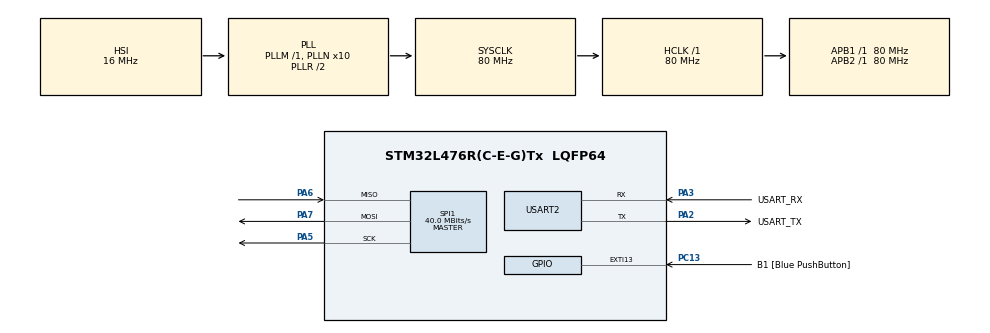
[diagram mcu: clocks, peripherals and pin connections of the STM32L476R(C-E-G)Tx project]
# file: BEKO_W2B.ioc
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Mcu.Family=STM32L4
Mcu.Name=STM32L476R(C-E-G)Tx
Mcu.Package=LQFP64
NVIC.PriorityGroup=NVIC_PRIORITYGROUP_4
PA13\ (JTMS-SWDIO).GPIO_Label=TMS
PA13\ (JTMS-SWDIO).Mode=Serial_Wire
PA13\ (JTMS-SWDIO).Signal=SYS_JTMS-SWDIO
PA14\ (JTCK-SWCLK).GPIO_Label=TCK
PA14\ (JTCK-SWCLK).Mode=Serial_Wire
PA14\ (JTCK-SWCLK).Signal=SYS_JTCK-SWCLK
PA2.GPIO_Label=USART_TX
PA2.GPIO_Mode=GPIO_MODE_AF_PP
PA2.GPIO_PuPd=GPIO_NOPULL
PA2.GPIO_Speed=GPIO_SPEED_FREQ_VERY_HIGH
PA2.Mode=Asynchronous
PA2.Signal=USART2_TX
PA3.GPIO_Label=USART_RX
PA3.GPIO_Mode=GPIO_MODE_AF_PP
PA3.GPIO_PuPd=GPIO_NOPULL
PA3.GPIO_Speed=GPIO_SPEED_FREQ_VERY_HIGH
PA3.Mode=Asynchronous
PA3.Signal=USART2_RX
PA5.Mode=Full_Duplex_Master
PA5.Signal=SPI1_SCK
PA6.Mode=Full_Duplex_Master
PA6.Signal=SPI1_MISO
PA7.Mode=Full_Duplex_Master
PA7.Signal=SPI1_MOSI
PB3\ (JTDO-TRACESWO).GPIO_Label=SWO
PB3\ (JTDO-TRACESWO).Signal=SYS_JTDO-SWO
PC13.GPIO_Label=B1 [Blue PushButton]
PC13.GPIO_ModeDefaultEXTI=GPIO_MODE_IT_FALLING
PC13.GPIO_PuPd=GPIO_NOPULL
PC13.Signal=GPXTI13
PC14-OSC32_IN\ (PC14).Mode=LSE-External-Oscillator
PC14-OSC32_IN\ (PC14).Signal=RCC_OSC32_IN
PC15-OSC32_OUT\ (PC15).Mode=LSE-External-Oscillator
PC15-OSC32_OUT\ (PC15).Signal=RCC_OSC32_OUT
PH0-OSC_IN\ (PH0).Signal=RCC_OSC_IN
PH1-OSC_OUT\ (PH1).Signal=RCC_OSC_OUT
ProjectManager.HeapSize=0x200
ProjectManager.StackSize=0x400
ProjectManager.TargetToolchain=STM32CubeIDE
RCC.ADCFreq_Value=64000000
RCC.AHBFreq_Value=80000000
RCC.APB1Freq_Value=80000000
RCC.APB1TimFreq_Value=80000000
RCC.APB2Freq_Value=80000000
RCC.APB2TimFreq_Value=80000000
RCC.CortexFreq_Value=80000000
RCC.HCLKFreq_Value=80000000
RCC.HSE_VALUE=8000000
RCC.HSI_VALUE=16000000
RCC.MSI_VALUE=4000000
RCC.PLLN=10
RCC.PLLSourceVirtual=RCC_PLLSOURCE_HSI
RCC.PREFETCH_ENABLE=1
RCC.SYSCLKFreq_VALUE=80000000
RCC.SYSCLKSource=RCC_SYSCLKSOURCE_PLLCLK
RCC.USBFreq_Value=64000000
RCC.VCOOutputFreq_Value=160000000
SPI1.CalculateBaudRate=40.0 MBits/s
SPI1.Direction=SPI_DIRECTION_2LINES
SPI1.Mode=SPI_MODE_MASTER
SPI1.VirtualType=VM_MASTER
USART2.VirtualMode-Asynchronous=VM_ASYNC
VP_RTC_VS_RTC_Activate.Mode=RTC_Enabled
board=NUCLEO-L476RG

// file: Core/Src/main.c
/* USER CODE BEGIN Header */
/**
  ******************************************************************************
  * @file           : main.c
  * @brief          : Main program body
  ******************************************************************************
  * @attention
  *
  * Copyright (c) 2024 STMicroelectronics.
  * All rights reserved.
  *
  * This software is licensed under terms that can be found in the LICENSE file
  * in the root directory of this software component.
  * If no LICENSE file comes with this software, it is provided AS-IS.
  *
  ******************************************************************************
  */
/* USER CODE END Header */
#include "main.h"

/* USER CODE BEGIN Includes */
#include "app_template.h"
#include "stdio.h"
#include "string.h"
/* USER CODE END Includes */

RTC_HandleTypeDef hrtc;

SPI_HandleTypeDef hspi1;

UART_HandleTypeDef huart2;

void SystemClock_Config(void);
static void MX_GPIO_Init(void);
static void MX_USART2_UART_Init(void);
static void MX_RTC_Init(void);
static void MX_SPI1_Init(void);

/* USER CODE BEGIN 0 */
#define LINE_MAX_LENGTH	800

static char line_buffer[LINE_MAX_LENGTH + 1];
static uint32_t line_length;

void line_append(uint8_t value)
{
	if (value == '\r' || value == '\n') {
		// odebraliśmy znak końca linii
		if (line_length > 0) {
			// jeśli bufor nie jest pusty to dodajemy 0 na końcu linii
			line_buffer[line_length] = '\0';
			// przetwarzamy dane
			printf("Otrzymano: %s\r\n", line_buffer);
			tx_message(line_buffer, line_length);
			// zaczynamy zbieranie danych od nowa
			line_length = 0;
			memset(line_buffer, 0, LINE_MAX_LENGTH + 1);
		}
	}
	else {
		if (line_length >= LINE_MAX_LENGTH) {
			// za dużo danych, usuwamy wszystko co odebraliśmy dotychczas
			line_length = 0;
		}
		// dopisujemy wartość do bufora
		line_buffer[line_length++] = value;
	}
}

int __io_putchar(int ch)
{
    HAL_UART_Transmit(&huart2, (uint8_t*)&ch, 1, HAL_MAX_DELAY);
    return 1;
}
/* USER CODE END 0 */

int main(void)
{

  /* MCU Configuration--------------------------------------------------------*/

  /* Reset of all peripherals, Initializes the Flash interface and the Systick. */
  HAL_Init();

  /* Configure the system clock */
  SystemClock_Config();

  /* Initialize all configured peripherals */
  MX_GPIO_Init();
  MX_USART2_UART_Init();
  MX_RTC_Init();
  MX_SPI1_Init();
  /* USER CODE BEGIN 2 */
  app_main();
  /* USER CODE END 2 */

  /* Infinite loop */
  /* USER CODE BEGIN WHILE */
  while (1)
  {
	  uint8_t value;
	  if (HAL_UART_Receive(&huart2, &value, 1, 0) == HAL_OK)
	  		  line_append(value);

    /* USER CODE END WHILE */

  }
}

void SystemClock_Config(void)
{
  RCC_OscInitTypeDef RCC_OscInitStruct = {0};
  RCC_ClkInitTypeDef RCC_ClkInitStruct = {0};

  /** Configure the main internal regulator output voltage
  */
  if (HAL_PWREx_ControlVoltageScaling(PWR_REGULATOR_VOLTAGE_SCALE1) != HAL_OK)
  {
    Error_Handler();
  }

  /** Initializes the RCC Oscillators according to the specified parameters
  * in the RCC_OscInitTypeDef structure.
  */
  RCC_OscInitStruct.OscillatorType = RCC_OSCILLATORTYPE_HSI|RCC_OSCILLATORTYPE_LSI;
  RCC_OscInitStruct.HSIState = RCC_HSI_ON;
  RCC_OscInitStruct.HSICalibrationValue = RCC_HSICALIBRATION_DEFAULT;
  RCC_OscInitStruct.LSIState = RCC_LSI_ON;
  RCC_OscInitStruct.PLL.PLLState = RCC_PLL_ON;
  RCC_OscInitStruct.PLL.PLLSource = RCC_PLLSOURCE_HSI;
  RCC_OscInitStruct.PLL.PLLM = 1;
  RCC_OscInitStruct.PLL.PLLN = 10;
  RCC_OscInitStruct.PLL.PLLP = RCC_PLLP_DIV7;
  RCC_OscInitStruct.PLL.PLLQ = RCC_PLLQ_DIV2;
  RCC_OscInitStruct.PLL.PLLR = RCC_PLLR_DIV2;
  if (HAL_RCC_OscConfig(&RCC_OscInitStruct) != HAL_OK)
  {
    Error_Handler();
  }

  /** Initializes the CPU, AHB and APB buses clocks
  */
  RCC_ClkInitStruct.ClockType = RCC_CLOCKTYPE_HCLK|RCC_CLOCKTYPE_SYSCLK
                              |RCC_CLOCKTYPE_PCLK1|RCC_CLOCKTYPE_PCLK2;
  RCC_ClkInitStruct.SYSCLKSource = RCC_SYSCLKSOURCE_PLLCLK;
  RCC_ClkInitStruct.AHBCLKDivider = RCC_SYSCLK_DIV1;
  RCC_ClkInitStruct.APB1CLKDivider = RCC_HCLK_DIV1;
  RCC_ClkInitStruct.APB2CLKDivider = RCC_HCLK_DIV1;

  if (HAL_RCC_ClockConfig(&RCC_ClkInitStruct, FLASH_LATENCY_4) != HAL_OK)
  {
    Error_Handler();
  }
}

static void MX_RTC_Init(void)
{

  /** Initialize RTC Only
  */
  hrtc.Instance = RTC;
  hrtc.Init.HourFormat = RTC_HOURFORMAT_24;
  hrtc.Init.AsynchPrediv = 127;
  hrtc.Init.SynchPrediv = 255;
  hrtc.Init.OutPut = RTC_OUTPUT_DISABLE;
  hrtc.Init.OutPutRemap = RTC_OUTPUT_REMAP_NONE;
  hrtc.Init.OutPutPolarity = RTC_OUTPUT_POLARITY_HIGH;
  hrtc.Init.OutPutType = RTC_OUTPUT_TYPE_OPENDRAIN;
  if (HAL_RTC_Init(&hrtc) != HAL_OK)
  {
    Error_Handler();
  }

}

static void MX_SPI1_Init(void)
{

  /* SPI1 parameter configuration*/
  hspi1.Instance = SPI1;
  hspi1.Init.Mode = SPI_MODE_MASTER;
  hspi1.Init.Direction = SPI_DIRECTION_2LINES;
  hspi1.Init.DataSize = SPI_DATASIZE_4BIT;
  hspi1.Init.CLKPolarity = SPI_POLARITY_LOW;
  hspi1.Init.CLKPhase = SPI_PHASE_1EDGE;
  hspi1.Init.NSS = SPI_NSS_SOFT;
  hspi1.Init.BaudRatePrescaler = SPI_BAUDRATEPRESCALER_2;
  hspi1.Init.FirstBit = SPI_FIRSTBIT_MSB;
  hspi1.Init.TIMode = SPI_TIMODE_DISABLE;
  hspi1.Init.CRCCalculation = SPI_CRCCALCULATION_DISABLE;
  hspi1.Init.CRCPolynomial = 7;
  hspi1.Init.CRCLength = SPI_CRC_LENGTH_DATASIZE;
  hspi1.Init.NSSPMode = SPI_NSS_PULSE_ENABLE;
  if (HAL_SPI_Init(&hspi1) != HAL_OK)
  {
    Error_Handler();
  }

}

static void MX_USART2_UART_Init(void)
{

  huart2.Instance = USART2;
  huart2.Init.BaudRate = 115200;
  huart2.Init.WordLength = UART_WORDLENGTH_8B;
  huart2.Init.StopBits = UART_STOPBITS_1;
  huart2.Init.Parity = UART_PARITY_NONE;
  huart2.Init.Mode = UART_MODE_TX_RX;
  huart2.Init.HwFlowCtl = UART_HWCONTROL_NONE;
  huart2.Init.OverSampling = UART_OVERSAMPLING_16;
  huart2.Init.OneBitSampling = UART_ONE_BIT_SAMPLE_DISABLE;
  huart2.AdvancedInit.AdvFeatureInit = UART_ADVFEATURE_NO_INIT;
  if (HAL_UART_Init(&huart2) != HAL_OK)
  {
    Error_Handler();
  }

}

static void MX_GPIO_Init(void)
{
  GPIO_InitTypeDef GPIO_InitStruct = {0};

  /* GPIO Ports Clock Enable */
  __HAL_RCC_GPIOC_CLK_ENABLE();
  __HAL_RCC_GPIOH_CLK_ENABLE();
  __HAL_RCC_GPIOA_CLK_ENABLE();
  __HAL_RCC_GPIOB_CLK_ENABLE();

  /*Configure GPIO pin : B1_Pin */
  GPIO_InitStruct.Pin = B1_Pin;
  GPIO_InitStruct.Mode = GPIO_MODE_IT_FALLING;
  GPIO_InitStruct.Pull = GPIO_NOPULL;
  HAL_GPIO_Init(B1_GPIO_Port, &GPIO_InitStruct);

}

void Error_Handler(void)
{
  __disable_irq();
  while (1)
  {
  }
}
